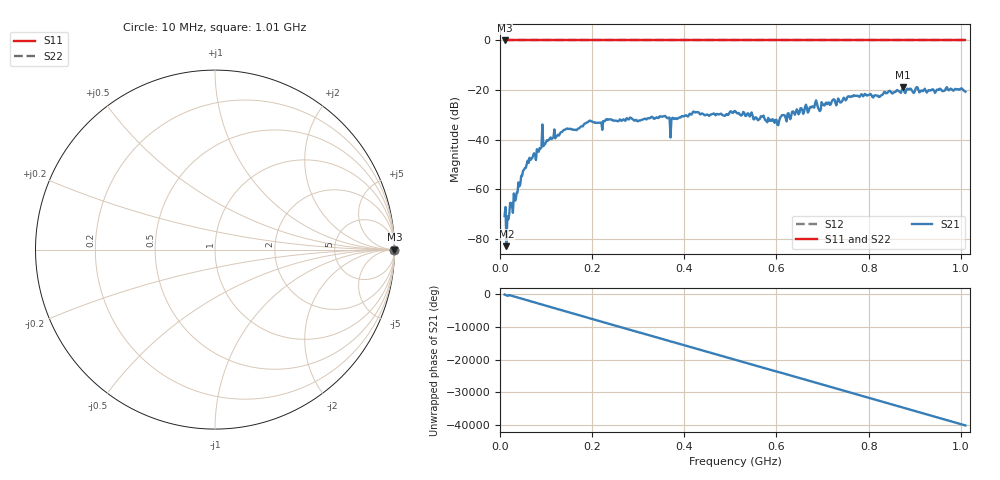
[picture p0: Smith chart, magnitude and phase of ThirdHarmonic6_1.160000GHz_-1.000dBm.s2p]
! 8/16/2025 11:37:34 AM
! C:\ANRITSUVNA\TEMP\TEMP.S2P
! CHANNEL.1
! TR.MEASUREMENT
! RAW.DATA
! RF.CORRECTION.OFF
! AVERAGING.OFF
! IF.BANDWIDTH: 5KHZ
! SWEEPTYPE:  FREQ.SWEEP(Linear)
! Reference Plane Port Info
! PORT:  PORT1  PORT2
! DISTANCE:  0  m  0  m
! TIME:  0  s  0  s
! PHASE.OFFSET:  0  deg.  0  deg.
! LOSS:  0  dB  0  dB
! REF.LOSS:  0  dB  0  dB
! REF.FREQ:  0  Hz  0  Hz
! Power Info
! POWER:  -20  dBm  -20  dBm
! EFF.POWER:  -20  dBm  -20  dBm
! SOURCE.ATTEN:  0  dB  0  dB
! TEST.ATTEN:  0  dB  0  dB
# GHZ S RI R 50.0
! FREQ.GHZ  S11RE  S11IM  S21RE  S21IM  S12RE  S12IM  S22RE  S22IM
!; PortSelection: Port_12
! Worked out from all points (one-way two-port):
!   501 points, 10 MHz to 1.01 GHz, reference 50 ohm
!   highest |S21| = -18.79 dB at 874 MHz (marker M1); lowest = -83.0 dB at 14 MHz (marker M2)
!   lowest |S11| = 0.0 dB at 10 MHz (marker M3)
!   |S11| at or under -10 dB: nowhere
!   |S22| runs from 0.0 to 0.0 dB; largest |S21 - S12| = 1.1
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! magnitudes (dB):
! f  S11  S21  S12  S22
! 10 MHz  0.0  -70.8  0.0  0.0
! 14 MHz  0.0  -83.0  0.0  0.0
! 32 MHz  0.0  -64.7  0.0  0.0
! 50 MHz  0.0  -52.6  0.0  0.0
! 62 MHz  0.0  -49.4  0.0  0.0
! 86 MHz  0.0  -43.4  0.0  0.0
! 88 MHz  0.0  -43.6  0.0  0.0
! 142 MHz  0.0  -35.9  0.0  0.0
! 178 MHz  0.0  -34.6  0.0  0.0
! 196 MHz  0.0  -32.4  0.0  0.0
! 218 MHz  0.0  -33.2  0.0  0.0
! 234 MHz  0.0  -32.0  0.0  0.0
! 344 MHz  0.0  -31.3  0.0  0.0
! 374 MHz  0.0  -31.2  0.0  0.0
! 422 MHz  0.0  -28.9  0.0  0.0
! 510 MHz  0.0  -28.5  0.0  0.0
! 600 MHz  0.0  -32.0  0.0  0.0
! 614 MHz  0.0  -30.1  0.0  0.0
! 678 MHz  0.0  -26.5  0.0  0.0
! 844 MHz  0.0  -20.4  0.0  0.0
! 874 MHz  0.0  -18.8  0.0  0.0
! 1.01 GHz  0.0  -20.6  0.0  0.0
